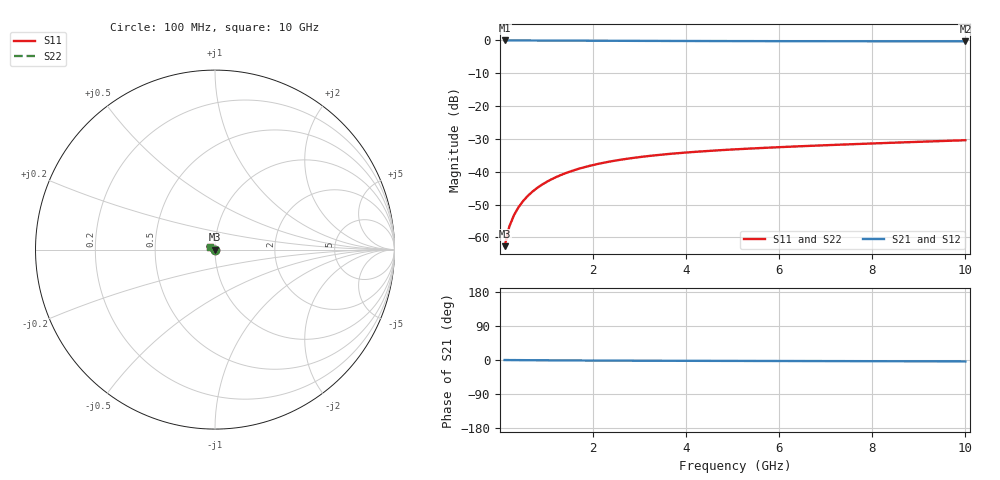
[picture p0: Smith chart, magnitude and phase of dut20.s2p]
! Touchstone file exported from HFSS 2024.1.0
!  File:  C:/UserFiles/LocalFiles/RDL_TSV_Batchsim/temp_TSV1_20_1779369128.aedt
!  Generated:  09:17:47 PM May 21, 2026
!  Design:  TSV1
!  Project:  temp_TSV1_20_1779369128
!  Setup:  Setup1
!  Solution:  Sweep
! Variables:
!  dtsv = 9.85um
!  hbump = 3um
!  htsv = 51.12um
!  lrdl = 252.1521522um
!  p = 40
!  p1 = 58.31um
!  t = 500um
!  trdl = 3um
!  wrdl = 24.89489489um
# GHz S MA R 50.000000
! Terminal data exported
! Port[1] = TSV22_T1
! Port[2] = TSV22_T2
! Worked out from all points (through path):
!   100 points, 100 MHz to 10 GHz, reference 50 ohm
!   highest |S21| = 0.00 dB at 100 MHz (marker M1); lowest = -0.3 dB at 10 GHz (marker M2)
!   lowest |S11| = -62.7 dB at 100 MHz (marker M3), VSWR 1.00, Z = 50 - j0.0732 ohm
!   |S11| at or under -10 dB: start of sweep to end of sweep
!   |S22| runs from -62.7 to -30.4 dB; largest |S21 - S12| = 3.1e-15
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0.1  0.0007367 -83.2  0.9999 -0.1  0.9999 -0.1  0.0007367 -83.2
! Gamma 0 0 0 0
! Port Impedance 50 0 50 0
0.2  0.001458 -90.0  0.9998 -0.2  0.9998 -0.2  0.001458 -90.0
0.3  0.002179 -93.7  0.9996 -0.3  0.9996 -0.3  0.002179 -93.7
0.4  0.002895 -96.7  0.9994 -0.3  0.9994 -0.3  0.002895 -96.7
0.5  0.003605 -99.4  0.9991 -0.4  0.9991 -0.4  0.003605 -99.4
0.6  0.004307 -101.9  0.9988 -0.5  0.9988 -0.5  0.004307 -101.9
0.7  0.004999 -104.3  0.9984 -0.6  0.9984 -0.6  0.004999 -104.3
0.8  0.005679 -106.7  0.998 -0.7  0.998 -0.7  0.005679 -106.7
0.9  0.006348 -108.9  0.9976 -0.7  0.9976 -0.7  0.006348 -108.9
1.1  0.007643 -113.3  0.9966 -0.9  0.9966 -0.9  0.007643 -113.3
1.4  0.009471 -119.5  0.9949 -1.1  0.9949 -1.1  0.009471 -119.5
1.6  0.01061 -123.5  0.9937 -1.2  0.9937 -1.2  0.01061 -123.5
1.8  0.01167 -127.2  0.9925 -1.3  0.9925 -1.3  0.01167 -127.2
2.1  0.01315 -132.6  0.9906 -1.5  0.9906 -1.5  0.01315 -132.6
2.5  0.01489 -139.2  0.9883 -1.7  0.9883 -1.7  0.01489 -139.2
2.9  0.0164 -145.3  0.986 -1.8  0.986 -1.8  0.0164 -145.3
3.4  0.01801 -152.1  0.9835 -2.0  0.9835 -2.0  0.01801 -152.1
4.2  0.02013 -161.7  0.9802 -2.2  0.9802 -2.2  0.02013 -161.7
5.1  0.02205 -170.8  0.9774 -2.4  0.9774 -2.4  0.02205 -170.8
6.7  0.02489 176.0  0.9739 -2.8  0.9739 -2.8  0.02489 176.0
8.4  0.02763 165.0  0.9716 -3.2  0.9716 -3.2  0.02763 165.0
10  0.03025 156.5  0.9701 -3.7  0.9701 -3.7  0.03025 156.5
